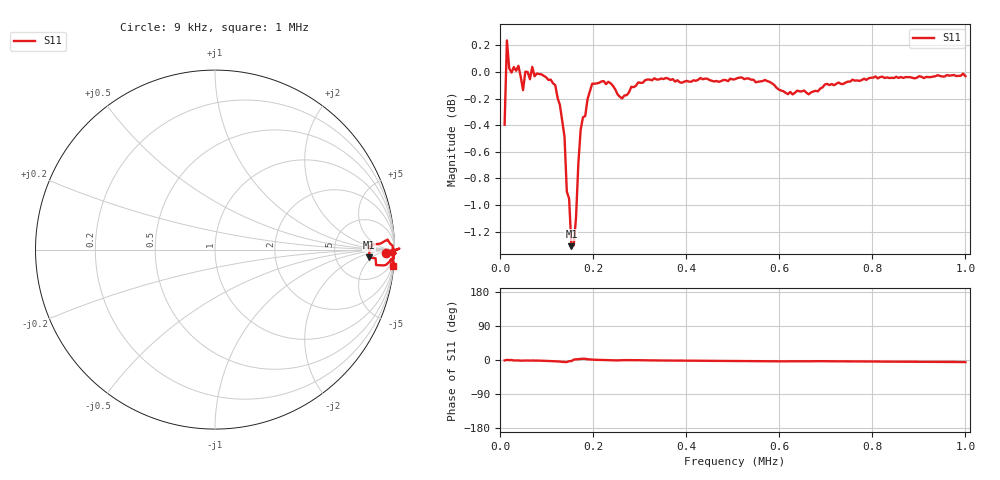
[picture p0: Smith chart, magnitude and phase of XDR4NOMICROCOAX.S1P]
!Agilent Technologies,E5071C,MY46100305,A.07.02
!Date: Fri Jan 01 00:22:19 1988
!Data & Calibration Information:
!Freq	S11:SOLT1(ON)
# Hz S MA R 50
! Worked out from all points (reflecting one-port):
!   201 points, 9 kHz to 1 MHz, reference 50 ohm
!   lowest |S11| = -1.3 dB at 152.7 kHz (marker M1), VSWR 13.31, Z = 597 - j202 ohm
!   phase of S11 starts at -1 deg and turns -4 deg over the sweep
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9000  0.9554 -1.2
13955  1.028 0.3
18910  1.003 -0.3
38730  1.005 -1.1
48640  0.9844 -1.6
53595  1 -1.2
63505  0.9937 -1.6
68460  1.004 -1.3
118010  0.9885 -3.5
132875  0.9586 -5.0
137830  0.9456 -5.4
142785  0.9018 -5.5
147740  0.8962 -3.1
152695  0.8602 -2.9
157650  0.861 0.9
162605  0.8816 1.8
172515  0.9512 3.0
182425  0.9627 3.3
187380  0.9768 1.9
202245  0.9898 0.6
256750  0.9788 -0.7
296390  0.991 -0.4
380625  0.9928 -1.7
504500  0.9937 -2.6
628375  0.9807 -3.4
752250  0.9917 -3.6
876125  0.9955 -4.5
1000000  0.9964 -5.4
